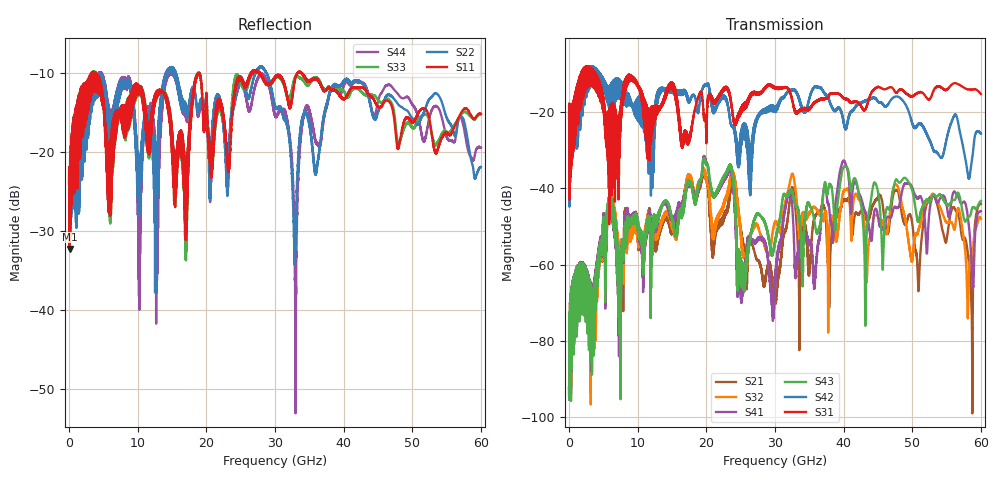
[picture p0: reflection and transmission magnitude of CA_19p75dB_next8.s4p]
!4 port subset of full cascaded channels using these ports:49 37 50 38
# Hz S RI R 50
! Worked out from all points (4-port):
!   6000 points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, 10 MHz to 60 GHz, reference 50 ohm
!   strongest paths, dB at 10 MHz, 15.01 GHz, 30.01 GHz, 45.01 GHz, 60 GHz:
!     S31: -21.8, -12.8, -13.6, -13.5, -15.4
!     S42: -21.9, -14.4, -18.7, -17.3, -25.7
!     S43: -92.3, -48.4, -53.9, -41.0, -43.4
!     S41: -92.3, -48.0, -64.8, -47.5, -46.0
!     S32: -92.2, -50.2, -48.8, -47.5, -48.0
!     S21: -92.2, -51.8, -68.6, -42.3, -44.1
!   lowest |S11| = -32.3 dB at 90 MHz (marker M1), VSWR 1.05, Z = 52.5 - j0.174 ohm
!   |S11| at or under -10 dB: 3.93 GHz to 18.87 GHz (14.94 GHz wide, 131 % of centre); 18.97 GHz to 26.46 GHz (7.485 GHz wide, 33 % of centre); 33.94 GHz to end of sweep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
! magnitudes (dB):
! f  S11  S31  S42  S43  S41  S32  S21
! 10 MHz  -23.9  -21.8  -21.9  -92.3  -92.3  -92.2  -92.2
! 90 MHz  -32.3  -22.8  -21.9  -75.4  -75.4  -75.4  -75.3
! 19.77 GHz  -16.7  -21.1  -13.1  -32.8  -32.2  -36.3  -36.6
! 29.67 GHz  -11.1  -13.6  -19.6  -57.2  -69.1  -51.4  -64.8
! 39.98 GHz  -13.2  -16.5  -22.7  -34.6  -32.9  -41.0  -43.1
! 58.6 GHz  -15.4  -14.2  -33.9  -46.2  -57.6  -57.9  -68.5
! 60 GHz  -15.2  -15.4  -25.7  -43.4  -46.0  -48.0  -44.1
